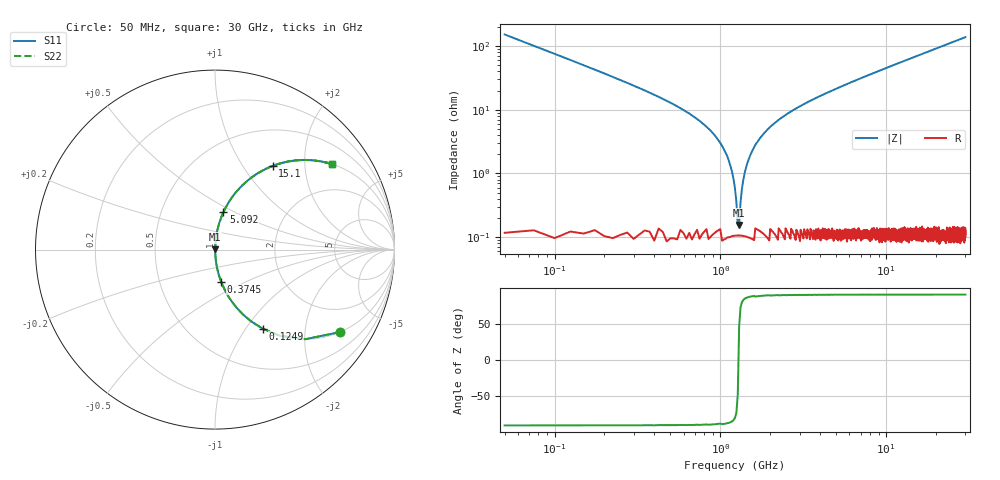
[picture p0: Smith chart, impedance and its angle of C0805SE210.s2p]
! AVX Thin Film Operation		Date: April 2012
! Description: Accu-P® Series, Thin Film, SMD, RF Capacitor
! Part Number: 08055J210FBTTR
!	50	MHz	-	20.05	GHz
!	Serial	Measurements
#	MHZ	S	MA	R	50
!	S11	S21	S12	S22
!	dB	Phase	dB	Phase	dB	Phase	dB	Phase
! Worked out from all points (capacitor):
!   1201 points, 50 MHz to 30 GHz, reference 50 ohm
!   read as one part in series: C = 21 pF near 199.8 MHz
!   lowest |Z| = 156 mohm at 1.298 GHz (marker M1)
!   series resonance near 1.286 GHz, so ESL is about 730 pH
!   S11 on the Smith chart (normalised r, x): 50 MHz: 1.00, -3.03; 124.9 MHz: 1.00, -1.20; 374.5 MHz: 1.00, -0.37; 5.092 GHz: 1.00, +0.44; 15.1 GHz: 1.00, +1.37; 30 GHz: 1.00, +2.75
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50  0.834 -33.4  0.551 56.5  0.551 56.5  0.834 -33.4
124.875  0.515 -58.9  0.856 31.0  0.856 31.0  0.515 -58.9
249.667  0.28 -73.5  0.959 16.3  0.959 16.3  0.28 -73.5
374.458  0.182 -79.2  0.982 10.5  0.982 10.5  0.182 -79.2
948.5  0.036 -86.1  0.998 2.1  0.998 2.1  0.036 -86.1
1073.292  0.021 -85.8  0.999 1.2  0.999 1.2  0.021 -85.8
1173.125  0.011 -83.4  0.999 0.6  0.999 0.6  0.011 -83.4
1297.917  0.001603 45.2  0.999 -0.1  0.999 -0.1  0.001603 45.2
1397.75  0.009942 82.9  0.999 -0.6  0.999 -0.6  0.009942 82.9
1497.583  0.018 85.4  0.999 -1.0  0.999 -1.0  0.018 85.4
1647.333  0.03 86.1  0.998 -1.7  0.998 -1.7  0.03 86.1
1871.958  0.045 86.0  0.998 -2.6  0.998 -2.6  0.045 86.0
2196.417  0.066 85.2  0.997 -3.8  0.997 -3.8  0.066 85.2
3244.667  0.124 82.3  0.991 -7.1  0.991 -7.1  0.124 82.3
5041.667  0.211 77.5  0.976 -12.2  0.976 -12.2  0.211 77.5
5091.583  0.213 77.4  0.976 -12.3  0.976 -12.3  0.213 77.4
10058.29  0.413 65.5  0.91 -24.4  0.91 -24.4  0.413 65.5
15025  0.564 55.6  0.825 -34.3  0.825 -34.3  0.564 55.6
15099.88  0.566 55.4  0.823 -34.5  0.823 -34.5  0.566 55.4
20016.67  0.674 47.5  0.738 -42.4  0.738 -42.4  0.674 47.5
25033.29  0.753 41.1  0.657 -48.8  0.657 -48.8  0.753 41.1
30000  0.808 36.0  0.588 -53.9  0.588 -53.9  0.808 36.0
